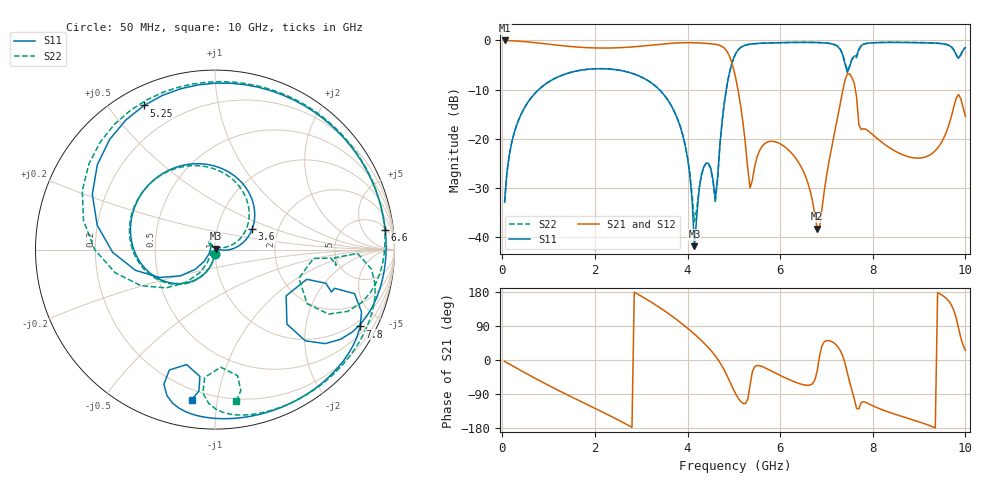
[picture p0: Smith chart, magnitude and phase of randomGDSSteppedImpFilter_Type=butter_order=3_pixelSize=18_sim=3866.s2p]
! freq	dB(S11)	phase(S11)	dB(S12)	phase(S12)
!  dB(S21)	phase(S21)	dB(S22)	phase(S22)
!S-par simulation data
#  GHz  S  DB  R 50
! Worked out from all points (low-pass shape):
!   200 points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, 50 MHz to 10 GHz, reference 50 ohm
!   highest |S21| = -0.01 dB at 50 MHz (marker M1); lowest = -38.3 dB at 6.8 GHz (marker M2)
!   |S21| within 3 dB of the highest: start of sweep to 4.896 GHz
!   lowest |S11| = -41.8 dB at 4.15 GHz (marker M3), VSWR 1.02, Z = 50.6 + j0.584 ohm
!   |S11| at or under -10 dB: start of sweep to 786.4 MHz; 3.389 GHz to 4.838 GHz (1.448 GHz wide, 35.2 % of centre)
!   |S22| runs from -36.8 to -0.4 dB; largest |S21 - S12| = 0
!   S11 on the Smith chart (normalised r, x): 50 MHz: 1.00, -0.05; 3.6 GHz: 1.47, +0.36; 5.25 GHz: 0.08, +0.62; 6.6 GHz: 6, +15; 7.8 GHz: 0.74, -3.90; 10 GHz: 0.14, -0.85
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0.05  -32.89 -93.3  -0.01 -3.5  -0.01 -3.5  -32.87 -93.3
0.5  -13.36 -125.4  -0.26 -34.4  -0.26 -34.4  -13.35 -124.5
1.75  -5.98 155.2  -1.43 -112.6  -1.43 -112.6  -5.98 158.7
2.7  -6.41 96.0  -1.39 -171.0  -1.39 -171.0  -6.41 102.1
3.4  -10.10 45.3  -0.79 138.3  -0.79 138.3  -10.09 54.0
3.6  -12.50 29.0  -0.62 121.5  -0.62 121.5  -12.48 38.8
4  -23.94 -2.8  -0.46 83.9  -0.46 83.9  -23.71 12.5
4.15  -41.83 45.4  -0.49 68.3  -0.49 68.3  -36.82 61.6
4.35  -25.75 128.2  -0.57 45.4  -0.57 45.4  -25.73 132.5
4.65  -27.84 -144.6  -0.88 2.4  -0.88 2.4  -28.14 -131.4
4.9  -6.77 -165.5  -3.08 -53.5  -3.08 -53.5  -6.76 -154.0
5.05  -2.50 155.8  -8.10 -91.6  -8.10 -91.6  -2.50 167.6
5.25  -0.96 116.2  -21.02 -114.8  -21.02 -114.8  -0.96 128.6
5.35  -0.76 102.0  -29.97 -68.4  -29.97 -68.4  -0.76 114.6
5.8  -0.50 58.2  -20.50 -28.4  -20.50 -28.4  -0.50 71.8
6.6  -0.40 6.5  -29.01 -66.9  -29.01 -66.9  -0.39 21.3
6.7  -0.41 0.8  -32.73 -62.6  -32.73 -62.6  -0.40 15.7
6.8  -0.43 -4.9  -38.25 -29.1  -38.25 -29.1  -0.41 10.1
7.45  -6.51 -33.0  -6.81 -32.7  -6.81 -32.7  -6.12 -18.8
7.8  -0.77 -27.9  -17.94 -110.0  -17.94 -110.0  -0.80 -12.1
8.35  -0.41 -56.3  -21.75 -137.8  -21.75 -137.8  -0.38 -40.9
10  -1.45 -98.9  -15.43 25.6  -15.43 25.6  -1.38 -82.0
